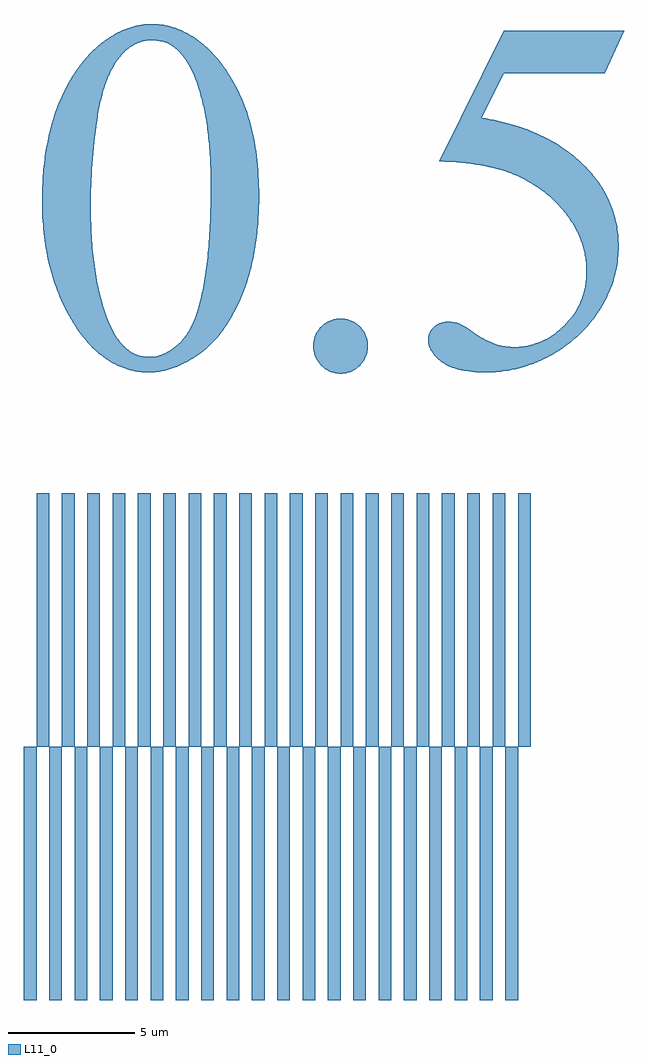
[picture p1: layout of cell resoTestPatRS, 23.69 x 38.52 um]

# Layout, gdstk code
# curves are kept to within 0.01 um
import gdstk
lib = gdstk.Library(unit=1e-6, precision=1e-09)
def R(c, l, rs):  # rectangles x0, y0, x1, y1
    for r in rs: c.add(gdstk.rectangle(r[:2], r[2:], *l))
def A(c, l, x, y, w, h, nx, ny, dx, dy):  # array of equal rectangles
    R(c, l, [(x+i*dx, y+j*dy, x+i*dx+w, y+j*dy+h) for i in range(nx) for j in range(ny)])
def P(c, l, *ps):  # polygons
    for p in ps: c.add(gdstk.Polygon(p, *l))
L11_0 = (11, 0)

resotestpatrs = lib.new_cell('resoTestPatRS')
A(resotestpatrs, L11_0, 0, 0, 0.5, 10, 20, 1, 1, 0)
A(resotestpatrs, L11_0, 0.5, 10, 0.5, 10, 20, 1, 1, 0)
P(resotestpatrs, L11_0, [(12.5,24.719),(12.282,24.739),(12.082,24.799),(11.899,24.899),(11.734,25.039),(11.598,25.208),(11.5,25.393),(11.441,25.594),(11.422,25.813),(11.441,26.03),(11.5,26.23),(11.598,26.413),(11.734,26.578),(11.899,26.715),(12.082,26.813),(12.282,26.871),(12.5,26.891),(12.718,26.871),(12.918,26.813),(13.101,26.715),(13.266,26.578),(13.402,26.413),(13.5,26.23),(13.559,26.03),(13.578,25.813),(13.559,25.594),(13.5,25.393),(13.402,25.208),(13.266,25.039),(13.101,24.899),(12.918,24.799),(12.718,24.739)],
  [(18.234,24.766),(17.681,24.791),(17.153,24.88),(16.904,24.958),(16.728,25.034),(16.608,25.099),(16.434,25.223),(16.261,25.38),(16.126,25.542),(16.043,25.682),(15.979,25.854),(15.955,26.002),(15.967,26.199),(16.025,26.357),(16.103,26.473),(16.208,26.58),(16.3,26.647),(16.509,26.736),(16.75,26.766),(17.041,26.735),(17.195,26.688),(17.378,26.594),(18.028,26.16),(18.304,26.009),(18.675,25.864),(19.094,25.778),(19.399,25.766),(19.814,25.807),(20.21,25.909),(20.525,26.04),(20.707,26.139),(20.943,26.295),(21.336,26.633),(21.539,26.855),(21.674,27.03),(21.83,27.272),(21.929,27.462),(22.013,27.658),(22.101,27.929),(22.162,28.212),(22.19,28.432),(22.196,28.959),(22.128,29.47),(22.01,29.896),(21.87,30.243),(21.653,30.648),(21.43,30.977),(21.174,31.29),(20.889,31.581),(20.51,31.9),(20.162,32.142),(19.786,32.361),(19.297,32.594),(18.946,32.721),(18.557,32.831),(18.039,32.938),(17.467,33.018),(16.391,33.094),(18.938,38.25),(23.688,38.25),(22.922,36.578),(18.938,36.578),(18.063,34.813),(18.694,34.697),(19.292,34.545),(19.856,34.357),(20.257,34.192),(20.762,33.941),(21.234,33.654),(21.672,33.33),(21.978,33.064),(22.329,32.707),(22.613,32.36),(22.856,31.999),(23.103,31.527),(23.255,31.133),(23.388,30.619),(23.448,30.192),(23.469,29.75),(23.454,29.368),(23.388,28.875),(23.269,28.398),(23.098,27.94),(22.881,27.503),(22.568,27.004),(22.287,26.642),(21.977,26.313),(21.557,25.945),(21.108,25.623),(20.728,25.398),(20.253,25.172),(19.759,24.994),(19.258,24.867),(18.75,24.791)],
  [(4.938,24.766),(4.704,24.774),(4.418,24.81),(3.977,24.923),(3.764,25.006),(3.505,25.134),(3.133,25.375),(5.035,25.377),(5.169,25.392),(5.372,25.442),(5.645,25.561),(5.853,25.69),(6.063,25.852),(6.232,26.016),(6.388,26.211),(6.559,26.486),(6.662,26.694),(6.757,26.922),(6.884,27.301),(7.028,27.881),(7.141,28.494),(7.232,29.174),(7.288,29.766),(7.339,30.566),(7.368,31.431),(7.375,32.172),(7.359,32.995),(7.32,33.641),(7.258,34.25),(7.173,34.823),(7.066,35.358),(6.935,35.858),(6.765,36.352),(6.61,36.705),(6.443,37.011),(6.23,37.31),(6,37.547),(5.731,37.72),(5.431,37.829),(5.101,37.874),(4.907,37.87),(4.745,37.847),(4.436,37.745),(4.146,37.568),(3.876,37.318),(3.675,37.064),(3.484,36.751),(3.284,36.315),(3.116,35.814),(3,35.347),(2.907,34.835),(2.832,34.292),(2.738,33.428),(2.676,32.57),(2.645,31.72),(2.647,30.793),(2.683,29.993),(2.752,29.243),(2.853,28.542),(2.988,27.891),(3.155,27.289),(3.348,26.753),(3.542,26.345),(3.762,26.008),(4.008,25.742),(4.168,25.617),(4.337,25.518),(4.64,25.411),(4.969,25.375),(3.133,25.375),(2.865,25.595),(2.633,25.822),(2.365,26.129),(2.107,26.476),(1.781,27),(1.475,27.61),(1.221,28.256),(1.055,28.801),(0.894,29.515),(0.785,30.267),(0.735,30.895),(0.719,31.688),(0.743,32.374),(0.815,33.157),(0.913,33.776),(1.044,34.363),(1.208,34.92),(1.406,35.445),(1.679,36.028),(1.983,36.552),(2.318,37.018),(2.621,37.361),(3.012,37.718),(3.442,38.025),(3.837,38.24),(4.236,38.393),(4.639,38.485),(5.047,38.516),(5.513,38.478),(5.876,38.393),(6.316,38.22),(6.658,38.026),(7.072,37.717),(7.472,37.331),(7.781,36.969),(8.133,36.467),(8.438,35.922),(8.635,35.485),(8.807,35.024),(8.994,34.372),(9.135,33.676),(9.229,32.938),(9.268,32.356),(9.281,31.606),(9.258,30.908),(9.203,30.243),(9.094,29.491),(8.967,28.903),(8.808,28.348),(8.617,27.828),(8.356,27.256),(8.069,26.745),(7.756,26.297),(7.419,25.911),(7.056,25.586),(6.675,25.322),(6.17,25.049),(5.796,24.905),(5.364,24.8)])

lib.write_gds('resoTestPatRS.gds')
